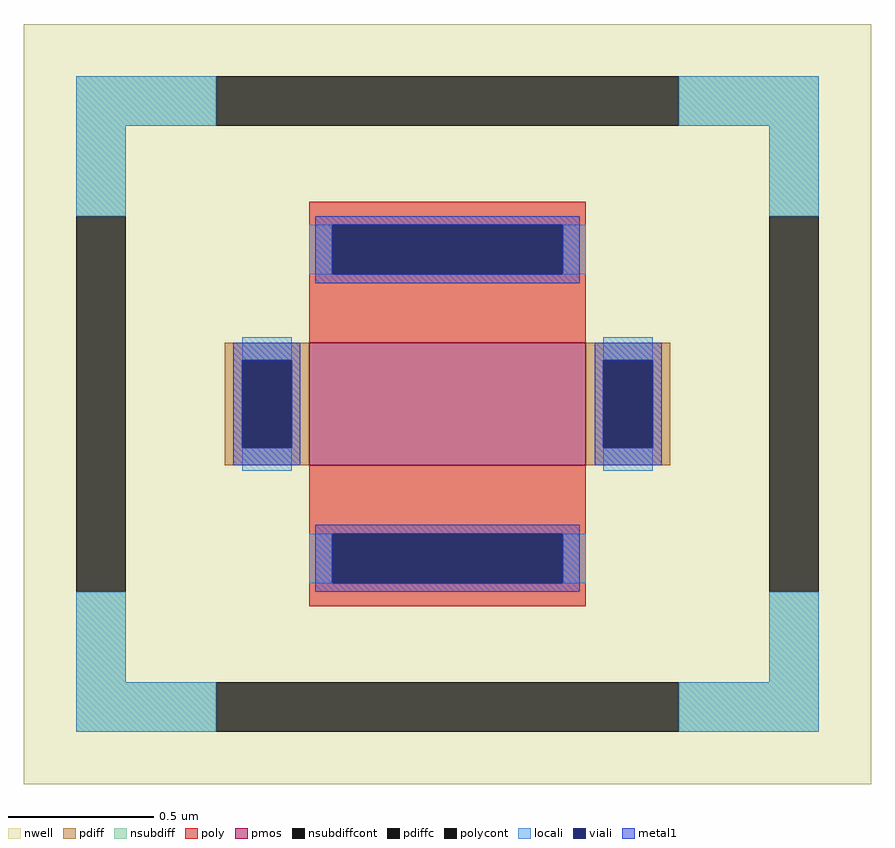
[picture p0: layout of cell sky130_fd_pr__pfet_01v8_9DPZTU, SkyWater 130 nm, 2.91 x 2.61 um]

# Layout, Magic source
magic
tech sky130A
magscale 1 2
<< nwell >>
rect -291 -261 291 261
<< pmos >>
rect -95 -42 95 42
<< pdiff >>
rect -153 30 -95 42
rect -153 -30 -141 30
rect -107 -30 -95 30
rect -153 -42 -95 -30
rect 95 30 153 42
rect 95 -30 107 30
rect 141 -30 153 30
rect 95 -42 153 -30
<< pdiffc >>
rect -141 -30 -107 30
rect 107 -30 141 30
<< nsubdiff >>
rect -255 191 -159 225
rect 159 191 255 225
rect -255 129 -221 191
rect 221 129 255 191
rect -255 -191 -221 -129
rect 221 -191 255 -129
rect -255 -225 -159 -191
rect 159 -225 255 -191
<< nsubdiffcont >>
rect -159 191 159 225
rect -255 -129 -221 129
rect 221 -129 255 129
rect -159 -225 159 -191
<< poly >>
rect -95 123 95 139
rect -95 89 -79 123
rect 79 89 95 123
rect -95 42 95 89
rect -95 -89 95 -42
rect -95 -123 -79 -89
rect 79 -123 95 -89
rect -95 -139 95 -123
<< polycont >>
rect -79 89 79 123
rect -79 -123 79 -89
<< locali >>
rect -255 191 -159 225
rect 159 191 255 225
rect -255 129 -221 191
rect 221 129 255 191
rect -95 89 -79 123
rect 79 89 95 123
rect -141 30 -107 46
rect -141 -46 -107 -30
rect 107 30 141 46
rect 107 -46 141 -30
rect -95 -123 -79 -89
rect 79 -123 95 -89
rect -255 -191 -221 -129
rect 221 -191 255 -129
rect -255 -225 -159 -191
rect 159 -225 255 -191
<< viali >>
rect -79 89 79 123
rect -141 -30 -107 30
rect 107 -30 141 30
rect -79 -123 79 -89
<< metal1 >>
rect -91 123 91 129
rect -91 89 -79 123
rect 79 89 91 123
rect -91 83 91 89
rect -147 30 -101 42
rect -147 -30 -141 30
rect -107 -30 -101 30
rect -147 -42 -101 -30
rect 101 30 147 42
rect 101 -30 107 30
rect 141 -30 147 30
rect 101 -42 147 -30
rect -91 -89 91 -83
rect -91 -123 -79 -89
rect 79 -123 91 -89
rect -91 -129 91 -123
<< properties >>
string FIXED_BBOX -238 -208 238 208
string gencell sky130_fd_pr__pfet_01v8
string library sky130
string parameters w 0.422 l 0.946 m 1 nf 1 diffcov 100 polycov 100 guard 1 glc 1 grc 1 gtc 1 gbc 1 tbcov 100 rlcov 100 topc 1 botc 1 poverlap 0 doverlap 1 lmin 0.15 wmin 0.42 compatible {sky130_fd_pr__pfet_01v8  sky130_fd_pr__pfet_01v8_lvt sky130_fd_pr__pfet_01v8_hvt  sky130_fd_pr__pfet_g5v0d10v5} full_metal 1 viasrc 100 viadrn 100 viagate 100 viagb 0 viagr 0 viagl 0 viagt 0
<< end >>
